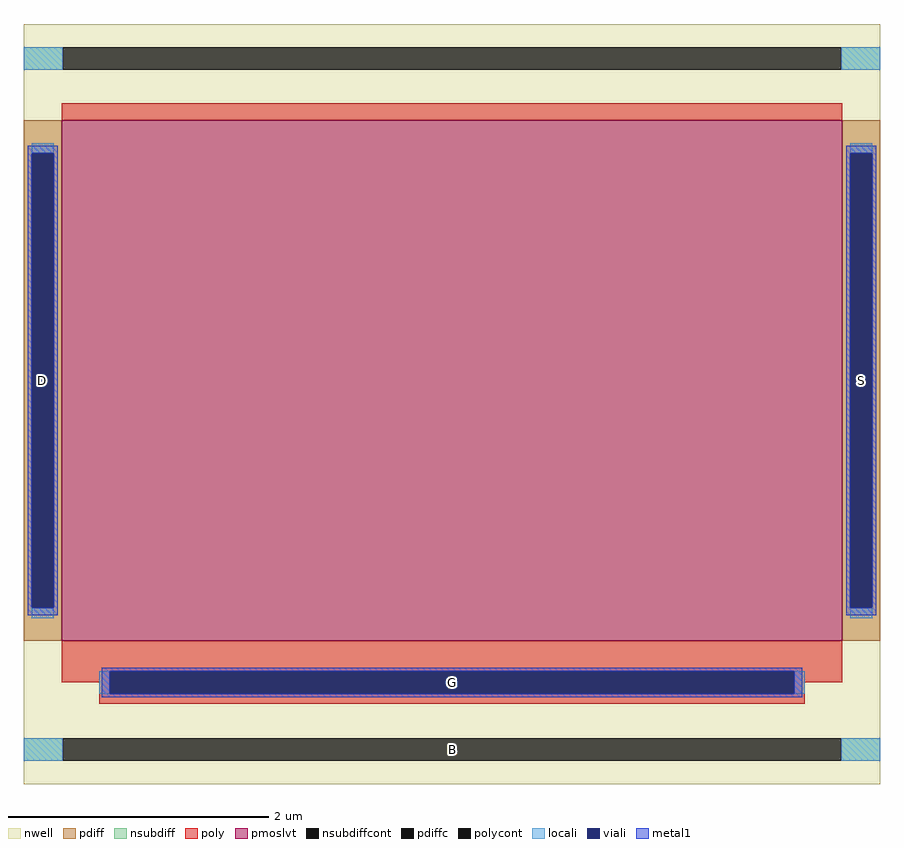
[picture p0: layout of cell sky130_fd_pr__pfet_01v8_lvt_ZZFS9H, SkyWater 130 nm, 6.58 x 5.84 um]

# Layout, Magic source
magic
tech sky130A
magscale 1 2
<< nwell >>
rect -658 -584 658 584
<< pmoslvt >>
rect -600 -364 600 436
<< pdiff >>
rect -658 385 -600 436
rect -658 -313 -646 385
rect -612 -313 -600 385
rect -658 -364 -600 -313
rect 600 385 658 436
rect 600 -313 612 385
rect 646 -313 658 385
rect 600 -364 658 -313
<< pdiffc >>
rect -646 -313 -612 385
rect 612 -313 646 385
<< nsubdiff >>
rect -658 514 -598 548
rect 598 514 658 548
rect -658 -548 -598 -514
rect 598 -548 658 -514
<< nsubdiffcont >>
rect -598 514 598 548
rect -598 -548 598 -514
<< poly >>
rect -600 436 600 462
rect -600 -411 600 -364
rect -600 -428 -526 -411
rect -542 -445 -526 -428
rect 526 -428 600 -411
rect 526 -445 542 -428
rect -542 -461 542 -445
<< polycont >>
rect -526 -445 526 -411
<< locali >>
rect -658 514 -598 548
rect 598 514 658 548
rect -646 385 -612 401
rect -646 -329 -612 -313
rect 612 385 646 401
rect 612 -329 646 -313
rect -542 -445 -526 -411
rect 526 -445 542 -411
rect -658 -548 -598 -514
rect 598 -548 658 -514
<< viali >>
rect -646 -313 -612 385
rect 612 -313 646 385
rect -526 -445 526 -411
<< metal1 >>
rect -652 385 -606 397
rect -652 -313 -646 385
rect -612 -313 -606 385
rect -652 -325 -606 -313
rect 606 385 652 397
rect 606 -313 612 385
rect 646 -313 652 385
rect 606 -325 652 -313
rect -538 -411 538 -405
rect -538 -445 -526 -411
rect 526 -445 538 -411
rect -538 -451 538 -445
<< labels >>
rlabel nsubdiffcont 0 -531 0 -531 0 B
port 1 nsew
rlabel pdiffc -629 36 -629 36 0 D
port 2 nsew
rlabel pdiffc 629 36 629 36 0 S
port 3 nsew
rlabel polycont 0 -428 0 -428 0 G
port 4 nsew
<< properties >>
string FIXED_BBOX -743 -531 743 531
string gencell sky130_fd_pr__pfet_01v8_lvt
string library sky130
string parameters w 4 l 6 m 1 nf 1 diffcov 90 polycov 90 guard 1 glc 0 grc 0 gtc 1 gbc 1 tbcov 90 rlcov 90 topc 0 botc 1 poverlap 0 doverlap 1 lmin 0.15 wmin 0.42 class mosfet compatible {sky130_fd_pr__pfet_01v8  sky130_fd_pr__pfet_01v8_lvt sky130_fd_pr__pfet_01v8_hvt  sky130_fd_pr__pfet_g5v0d10v5} full_metal 1 conn_gates 0 viasrc 90 viadrn 90 viagate 90 viagb 0 viagr 0 viagl 0 viagt 0 doports 1
<< end >>
